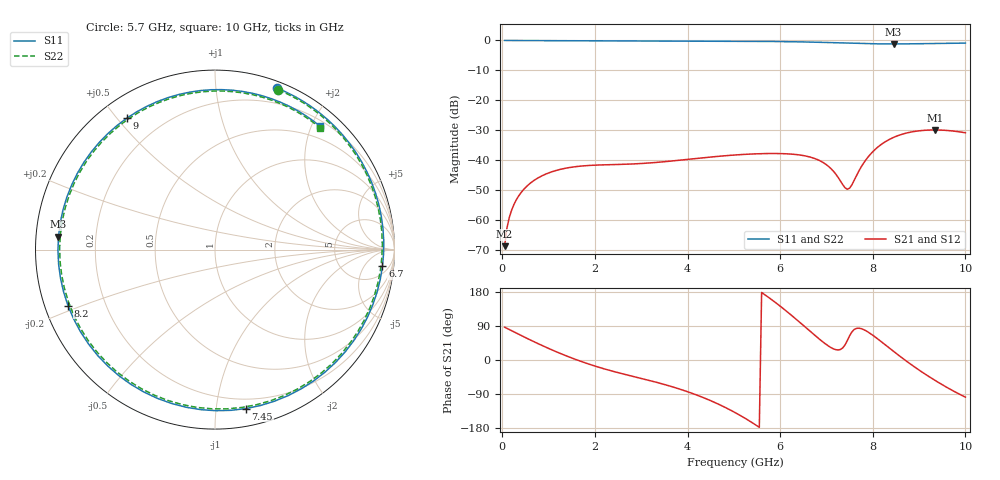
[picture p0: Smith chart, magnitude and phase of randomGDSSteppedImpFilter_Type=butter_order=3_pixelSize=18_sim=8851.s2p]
! freq	dB(S11)	phase(S11)	dB(S12)	phase(S12)
!  dB(S21)	phase(S21)	dB(S22)	phase(S22)
!S-par simulation data
#  GHz  S  DB  R 50
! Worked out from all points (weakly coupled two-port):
!   200 points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, 50 MHz to 10 GHz, reference 50 ohm
!   highest |S21| = -29.93 dB at 9.35 GHz (marker M1); lowest = -68.8 dB at 50 MHz (marker M2)
!   lowest |S11| = -1.2 dB at 8.45 GHz (marker M3), VSWR 14.99, Z = 3.34 + j2.04 ohm
!   |S11| at or under -10 dB: nowhere
!   |S22| runs from -1.3 to 0.0 dB; largest |S21 - S12| = 0
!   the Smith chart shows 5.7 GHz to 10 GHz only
!   S11 on the Smith chart (normalised r, x): 5.7 GHz: 0.06, +1.45; 6.7 GHz: 9, -14; 7.45 GHz: 0.13, -1.21; 8.2 GHz: 0.07, -0.18; 9 GHz: 0.08, +0.53; 10 GHz: 0.29, +2.13
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0.05  -0.00 -3.2  -68.78 86.6  -68.78 86.6  -0.00 -3.1
0.1  -0.01 -6.3  -62.76 83.6  -62.76 83.6  -0.01 -6.3
0.2  -0.02 -12.5  -56.79 77.4  -56.79 77.4  -0.02 -12.5
0.5  -0.04 -31.0  -49.18 59.1  -49.18 59.1  -0.04 -30.9
1.1  -0.08 -66.2  -43.76 25.2  -43.76 25.2  -0.08 -66.2
1.75  -0.11 -100.9  -41.93 -5.9  -41.93 -5.9  -0.11 -101.0
2.6  -0.13 -141.4  -41.42 -36.5  -41.42 -36.5  -0.15 -141.5
3.4  -0.16 -176.6  -40.68 -61.2  -40.68 -61.2  -0.18 -176.8
4.2  -0.19 148.0  -39.45 -92.5  -39.45 -92.5  -0.22 147.7
5.05  -0.25 106.6  -38.26 -140.3  -38.26 -140.3  -0.29 106.1
5.7  -0.32 69.1  -37.81 169.6  -37.81 169.6  -0.38 68.4
6.3  -0.44 27.3  -38.07 112.2  -38.07 112.2  -0.51 26.3
6.7  -0.56 -5.7  -39.23 70.2  -39.23 70.2  -0.64 -6.9
7.05  -0.70 -38.2  -42.18 36.3  -42.18 36.3  -0.80 -39.6
7.45  -0.89 -79.0  -49.75 51.3  -49.75 51.3  -0.99 -80.4
7.8  -1.04 -116.5  -41.05 80.4  -41.05 80.4  -1.14 -117.9
8.2  -1.15 -159.1  -34.58 46.8  -34.58 46.8  -1.24 -160.4
8.35  -1.16 -174.6  -33.15 32.3  -33.15 32.3  -1.25 -175.8
8.45  -1.16 175.3  -32.40 22.7  -32.40 22.7  -1.25 174.2
9  -1.09 124.0  -30.21 -26.6  -30.21 -26.6  -1.17 123.2
9.35  -1.01 95.2  -29.93 -54.2  -29.93 -54.2  -1.09 94.6
10  -0.89 49.6  -30.87 -98.1  -30.87 -98.1  -0.95 49.2
